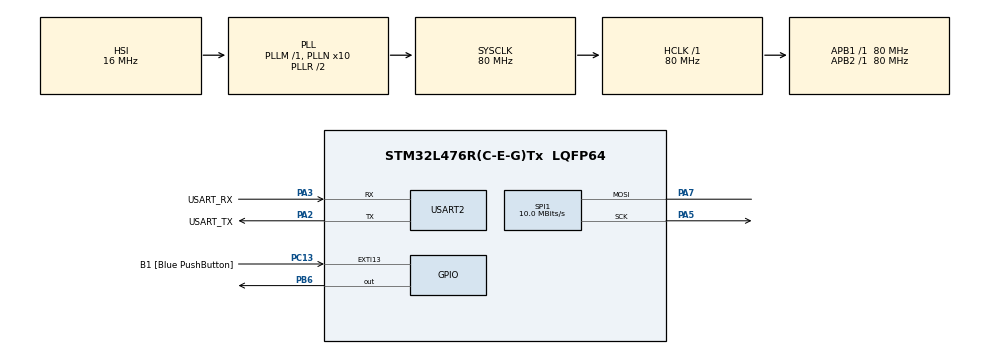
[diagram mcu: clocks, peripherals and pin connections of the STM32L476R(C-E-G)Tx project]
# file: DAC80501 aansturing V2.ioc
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Mcu.Family=STM32L4
Mcu.Name=STM32L476R(C-E-G)Tx
Mcu.Package=LQFP64
NVIC.PriorityGroup=NVIC_PRIORITYGROUP_4
PA13\ (JTMS-SWDIO).GPIO_Label=TMS
PA13\ (JTMS-SWDIO).Mode=Serial_Wire
PA13\ (JTMS-SWDIO).Signal=SYS_JTMS-SWDIO
PA14\ (JTCK-SWCLK).GPIO_Label=TCK
PA14\ (JTCK-SWCLK).Mode=Serial_Wire
PA14\ (JTCK-SWCLK).Signal=SYS_JTCK-SWCLK
PA2.GPIO_Label=USART_TX
PA2.GPIO_Mode=GPIO_MODE_AF_PP
PA2.GPIO_PuPd=GPIO_NOPULL
PA2.GPIO_Speed=GPIO_SPEED_FREQ_VERY_HIGH
PA2.Mode=Asynchronous
PA2.Signal=USART2_TX
PA3.GPIO_Label=USART_RX
PA3.GPIO_Mode=GPIO_MODE_AF_PP
PA3.GPIO_PuPd=GPIO_NOPULL
PA3.GPIO_Speed=GPIO_SPEED_FREQ_VERY_HIGH
PA3.Mode=Asynchronous
PA3.Signal=USART2_RX
PA5.Mode=Simplex_Bidirectional_Master
PA5.Signal=SPI1_SCK
PA7.Mode=Simplex_Bidirectional_Master
PA7.Signal=SPI1_MOSI
PB3\ (JTDO-TRACESWO).GPIO_Label=SWO
PB3\ (JTDO-TRACESWO).Signal=SYS_JTDO-SWO
PB6.PinState=GPIO_PIN_SET
PB6.Signal=GPIO_Output
PC13.GPIO_Label=B1 [Blue PushButton]
PC13.GPIO_ModeDefaultEXTI=GPIO_MODE_IT_FALLING
PC13.GPIO_PuPd=GPIO_NOPULL
PC13.Signal=GPXTI13
PC14-OSC32_IN\ (PC14).Mode=LSE-External-Oscillator
PC14-OSC32_IN\ (PC14).Signal=RCC_OSC32_IN
PC15-OSC32_OUT\ (PC15).Mode=LSE-External-Oscillator
PC15-OSC32_OUT\ (PC15).Signal=RCC_OSC32_OUT
PH0-OSC_IN\ (PH0).Signal=RCC_OSC_IN
PH1-OSC_OUT\ (PH1).Signal=RCC_OSC_OUT
ProjectManager.HeapSize=0x200
ProjectManager.StackSize=0x400
ProjectManager.TargetToolchain=STM32CubeIDE
RCC.ADCFreq_Value=64000000
RCC.AHBFreq_Value=80000000
RCC.APB1Freq_Value=80000000
RCC.APB1TimFreq_Value=80000000
RCC.APB2Freq_Value=80000000
RCC.APB2TimFreq_Value=80000000
RCC.CortexFreq_Value=80000000
RCC.HCLKFreq_Value=80000000
RCC.HSE_VALUE=8000000
RCC.HSI_VALUE=16000000
RCC.MSI_VALUE=4000000
RCC.PLLN=10
RCC.PLLSourceVirtual=RCC_PLLSOURCE_HSI
RCC.PREFETCH_ENABLE=1
RCC.SYSCLKFreq_VALUE=80000000
RCC.SYSCLKSource=RCC_SYSCLKSOURCE_PLLCLK
RCC.USBFreq_Value=64000000
RCC.VCOOutputFreq_Value=160000000
SPI1.BaudRatePrescaler=SPI_BAUDRATEPRESCALER_8
SPI1.CLKPolarity=SPI_POLARITY_HIGH
SPI1.CalculateBaudRate=10.0 MBits/s
SPI1.DataSize=SPI_DATASIZE_8BIT
SPI1.Direction=SPI_DIRECTION_1LINE
SPI1.Mode=SPI_MODE_MASTER
SPI1.VirtualType=VM_MASTER
USART2.VirtualMode-Asynchronous=VM_ASYNC
board=NUCLEO-L476RG

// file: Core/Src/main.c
/* USER CODE BEGIN Header */
/**
  ******************************************************************************
  * @file           : main.c
  * @brief          : Main program body
  ******************************************************************************
  * @attention
  *
  * Copyright (c) 2024 STMicroelectronics.
  * All rights reserved.
  *
  * This software is licensed under terms that can be found in the LICENSE file
  * in the root directory of this software component.
  * If no LICENSE file comes with this software, it is provided AS-IS.
  *
  ******************************************************************************
  */
/* USER CODE END Header */
#include "main.h"

/* USER CODE BEGIN Includes */
#include "stm32l4xx_hal.h"
/* USER CODE END Includes */

/* USER CODE BEGIN PTD */
extern SPI_HandleTypeDef hspi1;  // De SPI interface die we gebruiken
/* USER CODE END PTD */

/* USER CODE BEGIN PD */
//Registers adres definitie van de DAC80501
#define ADDR_NOOP_register 0b00000000 //No operation, Hex 0x00
#define ADDR_DEVID_register 0b00000001 //Device identification, Hex 0x01
#define ADDR_SYNC_register 0b0000 0010 //Synchronisation, Hex 0x02
#define ADDR_CONFIG_register 0b00000011 //Configuration, Hex 0x03
#define ADDR_GAIN_register 0b00000100 //Gain, Hex 0x04
#define ADDR_TRIGGER_register 0b00000101 //Trigger, Hex 0x05
#define ADDR_STATUS_register 0b00000111 //Status, Hex 0x07
#define ADDR_DAC_DATA_register 0b00001000 //Digital-to-analog converter, Hex 0x08

//Register Data van de DAC80501
#define DATA_NOOP 0x00
	//#define DATA_DEVID_register 0b0000 0001 0001 0101, kan worden uitgelezen
#define DATA_SYNC_register 0x00
//#define DATA_CONFIG_register 0b0000000100000000 //disabling internal reference & power-down mode
//#define DATA_GAIN_register 0x00 //referencespanning delen door 1 & gain op 1 zetten
#define DATA_TRIGGER_register 0x0A //dit reset de dac  & zet de dac in asynchronous mode(default)
	//#define DATA_STATUS_register 0x01 geeft aan of DAC wordt uitgeschakeld, 0x00 geeft aan dat dac is ingeschakeld
#define DAC80501_SPI_TIMEOUT 100

//#define DATA_CONFIG_register 0b0000000100000000 //disabling internal reference & power-down mode
//#define DATA_GAIN_register 0x00 //referencespanning delen door 1 & gain op 1 zetten
#define DATA_CONFIG_register 0b0000000000000000 //enabling internal reference & dis power-down mode
#define DATA_GAIN_register 0x01 //referencespanning delen door 1 & gain op 2 zetten

//SS pin van de DAC, verander zonodig
#define DAC_SS_Pin GPIO_PIN_6
#define DAC_SS_Port GPIOB
/* USER CODE END PD */

SPI_HandleTypeDef hspi1;

UART_HandleTypeDef huart2;

/* USER CODE BEGIN PV */
uint8_t data = 0b00001111;
/* USER CODE END PV */

void SystemClock_Config(void);
static void MX_GPIO_Init(void);
static void MX_USART2_UART_Init(void);
static void MX_SPI1_Init(void);
/* USER CODE BEGIN PFP */
HAL_StatusTypeDef DAC80501Reset(void)
{
    HAL_StatusTypeDef status;
    uint8_t txData[3];

    // Stel het adres en de data in voor het trigger-register van de DAC80501
    txData[0] = ADDR_TRIGGER_register;                     // Registeradres
    txData[1] = (DATA_TRIGGER_register >> 8 ) & 0xFF;      // MSB van de 16-bits data
    txData[2] = (DATA_TRIGGER_register & 0xFF);              // LSB van de 16-bits data

    // Zet de Chip Select (CS/SS) lijn laag om SPI-communicatie te starten
    HAL_GPIO_WritePin(DAC_SS_Port, DAC_SS_Pin, GPIO_PIN_RESET);
    // Verzend de 24-bits data via SPI
    status = HAL_SPI_Transmit(&hspi1, txData, 3, DAC80501_SPI_TIMEOUT);

    // Zet de Chip Select (CS/SS) lijn hoog om SPI-communicatie te beëindigen
    HAL_GPIO_WritePin(DAC_SS_Port, DAC_SS_Pin, GPIO_PIN_SET);

    // Retourneer de status van de SPI-communicatie (HAL_OK of foutcode)
    return status;
}

HAL_StatusTypeDef DAC80501Config(void)
{
	 HAL_StatusTypeDef status;
	 uint8_t txData[3];

	 txData[0] =  ADDR_CONFIG_register;                     // Registeradres
	 txData[1] = (DATA_CONFIG_register >> 8 ) & 0xFF;      // MSB van de 16-bits data
	 txData[2] = (DATA_CONFIG_register & 0xFF);              // LSB van de 16-bits data

	 // Zet de Chip Select (CS/SS) lijn laag om SPI-communicatie te starten
	 HAL_GPIO_WritePin(DAC_SS_Port, DAC_SS_Pin, GPIO_PIN_RESET);

	 // Verzend de 24-bits data via SPI
	 status = HAL_SPI_Transmit(&hspi1, txData, 3, DAC80501_SPI_TIMEOUT);

	 // Zet de Chip Select (CS/SS) lijn hoog om SPI-communicatie te beëindigen
	 HAL_GPIO_WritePin(DAC_SS_Port, DAC_SS_Pin, GPIO_PIN_SET);

	 // Retourneer de status van de SPI-communicatie (HAL_OK of foutcode)
	 return status;
}

HAL_StatusTypeDef DAC80501Gain(void)
{
	 HAL_StatusTypeDef status;
	 uint8_t txData[3];

	 txData[0] = ADDR_GAIN_register ;                     // Registeradres
	 txData[1] = (DATA_GAIN_register >> 8 ) & 0xFF;      // MSB van de 16-bits data
	 txData[2] = (DATA_GAIN_register & 0xFF);              // LSB van de 16-bits data

	 // Zet de Chip Select (CS/SS) lijn laag om SPI-communicatie te starten
	 HAL_GPIO_WritePin(DAC_SS_Port, DAC_SS_Pin, GPIO_PIN_RESET);

	 // Verzend de 24-bits data via SPI
	 status = HAL_SPI_Transmit(&hspi1, txData, 3, DAC80501_SPI_TIMEOUT);

	 // Zet de Chip Select (CS/SS) lijn hoog om SPI-communicatie te beëindigen
	 HAL_GPIO_WritePin(DAC_SS_Port, DAC_SS_Pin, GPIO_PIN_SET);

	 // Retourneer de status van de SPI-communicatie (HAL_OK of foutcode)
	 return status;
}

HAL_StatusTypeDef DAC80501DataVoltage5V(uint16_t voltage_mV)  //data(getal) moet in mV zijn van 0 tot 5000mV
{
	//Zorgen dat spanning tussen 0-5000mV zit
	if(voltage_mV > 5000){ //Houdt de spanning onder de 5000mV
		voltage_mV = 5000;
	}
	if(voltage_mV < 0){ //Houdt de spanning boven de 0mV. Werkt niet goed vanwerge unsigned naar signed conversion bij functie aanroep
		voltage_mV = 0;
	}

    HAL_StatusTypeDef status;
    uint16_t convertedDataVoltage = (uint16_t)(((uint32_t)voltage_mV * 65535) / 5000); // 0-5000mV omzetten naar 16 bits waarde die naar de dac gestuurd kan worden. gebruik gehele getallen
    uint8_t txData[3];

    // Stel het adres en de data in voor het trigger-register van de DAC80501
    txData[0] = ADDR_DAC_DATA_register;                     // Registeradres
    txData[1] = (convertedDataVoltage >> 8 ) & 0xFF;      // MSB van de 16-bits data
    txData[2] = (convertedDataVoltage & 0xFF);              // LSB van de 16-bits data

    // Zet de Chip Select (CS/SS) lijn laag om SPI-communicatie te starten
    HAL_GPIO_WritePin(DAC_SS_Port, DAC_SS_Pin, GPIO_PIN_RESET);

    // Verzend de 24-bits data via SPI
    status = HAL_SPI_Transmit(&hspi1, txData, 3, DAC80501_SPI_TIMEOUT);

    // Zet de Chip Select (CS/SS) lijn hoog om SPI-communicatie te beëindigen
    HAL_GPIO_WritePin(DAC_SS_Port, DAC_SS_Pin, GPIO_PIN_SET);

    // Retourneer de status van de SPI-communicatie (HAL_OK of foutcode)
    return status;
}

HAL_StatusTypeDef DAC80501DataVoltage60V(uint16_t voltage_mV)  //data(getal) moet in mV zijn van 0 tot 60000mV
{
	//Zorgen dat spanning tussen 0-5000mV zit
	if(voltage_mV > 60000){ //Houdt de spanning onder de 5000mV
		voltage_mV = 60000;
	}
	if(voltage_mV < 0){ //Houdt de spanning boven de 0mV. Werkt niet goed vanwerge unsigned naar signed conversion bij functie aanroep
		voltage_mV = 0;
	}

    HAL_StatusTypeDef status;
    uint16_t convertedDataVoltage = (uint16_t)(((uint32_t)voltage_mV * 65535) / (5000*12)); // 0-60000mV omzetten naar 16 bits waarde die naar de dac gestuurd kan worden. gebruik gehele getallen
    uint8_t txData[3];

    // Stel het adres en de data in voor het trigger-register van de DAC80501
    txData[0] = ADDR_DAC_DATA_register;                     // Registeradres
    txData[1] = (convertedDataVoltage >> 8 ) & 0xFF;      // MSB van de 16-bits data
    txData[2] = (convertedDataVoltage & 0xFF);              // LSB van de 16-bits data

    // Zet de Chip Select (CS/SS) lijn laag om SPI-communicatie te starten
    HAL_GPIO_WritePin(DAC_SS_Port, DAC_SS_Pin, GPIO_PIN_RESET);

    // Verzend de 24-bits data via SPI
    status = HAL_SPI_Transmit(&hspi1, txData, 3, DAC80501_SPI_TIMEOUT);

    // Zet de Chip Select (CS/SS) lijn hoog om SPI-communicatie te beëindigen
    HAL_GPIO_WritePin(DAC_SS_Port, DAC_SS_Pin, GPIO_PIN_SET);

    // Retourneer de status van de SPI-communicatie (HAL_OK of foutcode)
    return status;
}
/* USER CODE END PFP */

int main(void)
{

  /* MCU Configuration--------------------------------------------------------*/

  /* Reset of all peripherals, Initializes the Flash interface and the Systick. */
  HAL_Init();

  /* Configure the system clock */
  SystemClock_Config();

  /* Initialize all configured peripherals */
  MX_GPIO_Init();
  MX_USART2_UART_Init();
  MX_SPI1_Init();

  /* Infinite loop */
  /* USER CODE BEGIN WHILE */
  //DAC80501Reset();
    //DAC80501Config();
//    DAC80501Gain();
  HAL_GPIO_WritePin(DAC_SS_Port, DAC_SS_Pin, GPIO_PIN_RESET);
     // Verzend de 24-bits data via SPI
     HAL_SPI_Transmit(&hspi1, &data, 1, DAC80501_SPI_TIMEOUT);

     // Zet de Chip Select (CS/SS) lijn hoog om SPI-communicatie te beëindigen
     HAL_GPIO_WritePin(DAC_SS_Port, DAC_SS_Pin, GPIO_PIN_SET);
  while (1)
  {
    /* USER CODE END WHILE */

  }
}

void SystemClock_Config(void)
{
  RCC_OscInitTypeDef RCC_OscInitStruct = {0};
  RCC_ClkInitTypeDef RCC_ClkInitStruct = {0};

  /** Configure the main internal regulator output voltage
  */
  if (HAL_PWREx_ControlVoltageScaling(PWR_REGULATOR_VOLTAGE_SCALE1) != HAL_OK)
  {
    Error_Handler();
  }

  /** Initializes the RCC Oscillators according to the specified parameters
  * in the RCC_OscInitTypeDef structure.
  */
  RCC_OscInitStruct.OscillatorType = RCC_OSCILLATORTYPE_HSI;
  RCC_OscInitStruct.HSIState = RCC_HSI_ON;
  RCC_OscInitStruct.HSICalibrationValue = RCC_HSICALIBRATION_DEFAULT;
  RCC_OscInitStruct.PLL.PLLState = RCC_PLL_ON;
  RCC_OscInitStruct.PLL.PLLSource = RCC_PLLSOURCE_HSI;
  RCC_OscInitStruct.PLL.PLLM = 1;
  RCC_OscInitStruct.PLL.PLLN = 10;
  RCC_OscInitStruct.PLL.PLLP = RCC_PLLP_DIV7;
  RCC_OscInitStruct.PLL.PLLQ = RCC_PLLQ_DIV2;
  RCC_OscInitStruct.PLL.PLLR = RCC_PLLR_DIV2;
  if (HAL_RCC_OscConfig(&RCC_OscInitStruct) != HAL_OK)
  {
    Error_Handler();
  }

  /** Initializes the CPU, AHB and APB buses clocks
  */
  RCC_ClkInitStruct.ClockType = RCC_CLOCKTYPE_HCLK|RCC_CLOCKTYPE_SYSCLK
                              |RCC_CLOCKTYPE_PCLK1|RCC_CLOCKTYPE_PCLK2;
  RCC_ClkInitStruct.SYSCLKSource = RCC_SYSCLKSOURCE_PLLCLK;
  RCC_ClkInitStruct.AHBCLKDivider = RCC_SYSCLK_DIV1;
  RCC_ClkInitStruct.APB1CLKDivider = RCC_HCLK_DIV1;
  RCC_ClkInitStruct.APB2CLKDivider = RCC_HCLK_DIV1;

  if (HAL_RCC_ClockConfig(&RCC_ClkInitStruct, FLASH_LATENCY_4) != HAL_OK)
  {
    Error_Handler();
  }
}

static void MX_SPI1_Init(void)
{

  /* SPI1 parameter configuration*/
  hspi1.Instance = SPI1;
  hspi1.Init.Mode = SPI_MODE_MASTER;
  hspi1.Init.Direction = SPI_DIRECTION_1LINE;
  hspi1.Init.DataSize = SPI_DATASIZE_8BIT;
  hspi1.Init.CLKPolarity = SPI_POLARITY_HIGH;
  hspi1.Init.CLKPhase = SPI_PHASE_1EDGE;
  hspi1.Init.NSS = SPI_NSS_SOFT;
  hspi1.Init.BaudRatePrescaler = SPI_BAUDRATEPRESCALER_8;
  hspi1.Init.FirstBit = SPI_FIRSTBIT_MSB;
  hspi1.Init.TIMode = SPI_TIMODE_DISABLE;
  hspi1.Init.CRCCalculation = SPI_CRCCALCULATION_DISABLE;
  hspi1.Init.CRCPolynomial = 7;
  hspi1.Init.CRCLength = SPI_CRC_LENGTH_DATASIZE;
  hspi1.Init.NSSPMode = SPI_NSS_PULSE_ENABLE;
  if (HAL_SPI_Init(&hspi1) != HAL_OK)
  {
    Error_Handler();
  }
  /* USER CODE BEGIN SPI1_Init 2 */
  //Deze code wordt gebruikt om de CPOL initial value op 1 te zetten. verander alleen de GPIO_InitStruct.Pin pin & HAL_GPIO_Init(GPIOA, &GPIO_InitStruct); poort
   GPIO_InitTypeDef GPIO_InitStruct = {0};
        GPIO_InitStruct.Pin = GPIO_PIN_5; // GPIOD Pin 1 is the SPI2_CLK
        GPIO_InitStruct.Mode = GPIO_MODE_AF_PP;
        if (hspi1.Init.CLKPolarity==SPI_POLARITY_HIGH) {
          GPIO_InitStruct.Pull = GPIO_PULLUP;
        } else {
          GPIO_InitStruct.Pull = GPIO_PULLDOWN;
        }
        GPIO_InitStruct.Speed = GPIO_SPEED_FREQ_VERY_HIGH;
        GPIO_InitStruct.Alternate = GPIO_AF5_SPI1;
        HAL_GPIO_Init(GPIOA, &GPIO_InitStruct);
        HAL_Delay(1);
  /* USER CODE END SPI1_Init 2 */

}

static void MX_USART2_UART_Init(void)
{

  huart2.Instance = USART2;
  huart2.Init.BaudRate = 115200;
  huart2.Init.WordLength = UART_WORDLENGTH_8B;
  huart2.Init.StopBits = UART_STOPBITS_1;
  huart2.Init.Parity = UART_PARITY_NONE;
  huart2.Init.Mode = UART_MODE_TX_RX;
  huart2.Init.HwFlowCtl = UART_HWCONTROL_NONE;
  huart2.Init.OverSampling = UART_OVERSAMPLING_16;
  huart2.Init.OneBitSampling = UART_ONE_BIT_SAMPLE_DISABLE;
  huart2.AdvancedInit.AdvFeatureInit = UART_ADVFEATURE_NO_INIT;
  if (HAL_UART_Init(&huart2) != HAL_OK)
  {
    Error_Handler();
  }

}

static void MX_GPIO_Init(void)
{
  GPIO_InitTypeDef GPIO_InitStruct = {0};

  /* GPIO Ports Clock Enable */
  __HAL_RCC_GPIOC_CLK_ENABLE();
  __HAL_RCC_GPIOH_CLK_ENABLE();
  __HAL_RCC_GPIOA_CLK_ENABLE();
  __HAL_RCC_GPIOB_CLK_ENABLE();

  /*Configure GPIO pin Output Level */
  HAL_GPIO_WritePin(GPIOB, GPIO_PIN_6, GPIO_PIN_SET);

  /*Configure GPIO pin : B1_Pin */
  GPIO_InitStruct.Pin = B1_Pin;
  GPIO_InitStruct.Mode = GPIO_MODE_IT_FALLING;
  GPIO_InitStruct.Pull = GPIO_NOPULL;
  HAL_GPIO_Init(B1_GPIO_Port, &GPIO_InitStruct);

  /*Configure GPIO pin : PB6 */
  GPIO_InitStruct.Pin = GPIO_PIN_6;
  GPIO_InitStruct.Mode = GPIO_MODE_OUTPUT_PP;
  GPIO_InitStruct.Pull = GPIO_NOPULL;
  GPIO_InitStruct.Speed = GPIO_SPEED_FREQ_LOW;
  HAL_GPIO_Init(GPIOB, &GPIO_InitStruct);

}

void Error_Handler(void)
{
  __disable_irq();
  while (1)
  {
  }
}
